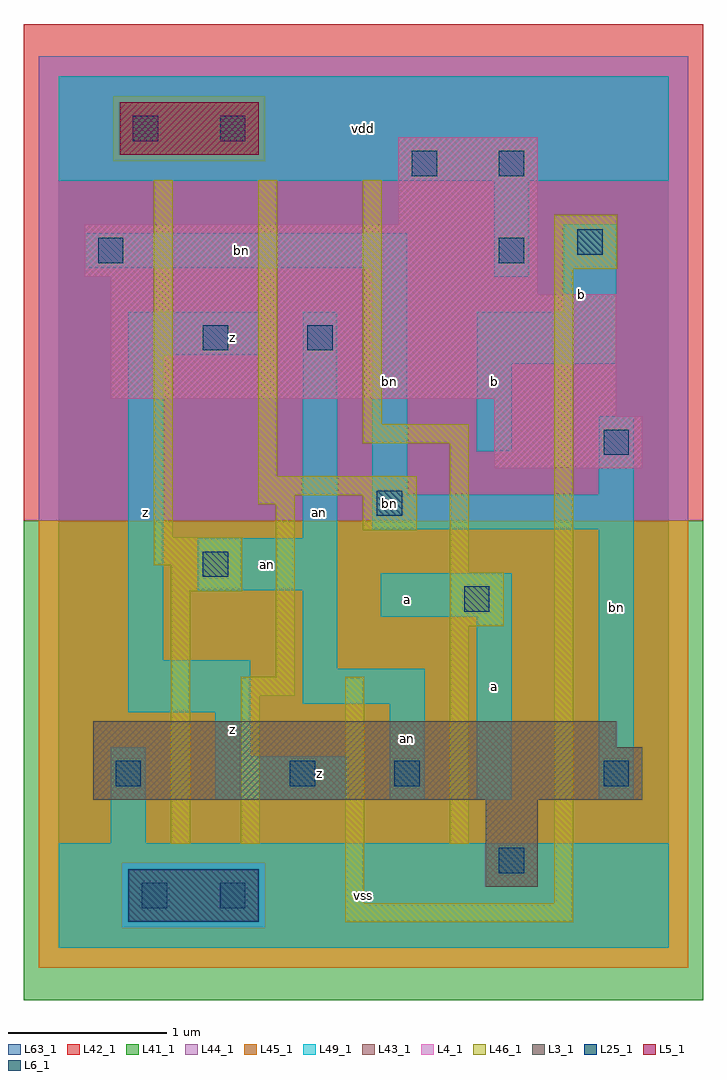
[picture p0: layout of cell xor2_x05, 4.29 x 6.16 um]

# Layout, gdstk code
import gdstk
lib = gdstk.Library(unit=1e-6, precision=1e-09)
def R(c, l, rs):  # rectangles x0, y0, x1, y1
    for r in rs: c.add(gdstk.rectangle(r[:2], r[2:], *l))
L3_1 = (3, 1)
L4_1 = (4, 1)
L5_1 = (5, 1)
L6_1 = (6, 1)
L25_1 = (25, 1)
L41_1 = (41, 1)
L42_1 = (42, 1)
L43_1 = (43, 1)
L44_1 = (44, 1)
L45_1 = (45, 1)
L46_1 = (46, 1)
L49_1 = (49, 1)
L63_1 = (63, 1)

xor2_x05 = lib.new_cell('xor2_x05')
R(xor2_x05, L3_1, [(2.695,0.385,3.025,0.935), (0.22,0.935,3.685,1.265), (0.22,1.265,3.52,1.43)])
R(xor2_x05, L4_1, [(2.75,3.025,3.685,3.355), (2.75,3.355,3.52,3.465), (0.33,3.465,3.52,4.125), (0.33,4.125,3.025,4.235), (0.165,4.235,3.025,4.565), (2.145,4.565,3.025,5.115)])
R(xor2_x05, L5_1, [(0.385,5.005,1.265,5.335)])
R(xor2_x05, L6_1, [(0.44,0.165,1.265,0.495)])
R(xor2_x05, L25_1, [(0.525,0.25,0.685,0.41), (1.02,0.25,1.18,0.41), (2.78,0.47,2.94,0.63), (0.36,1.02,0.52,1.18), (1.46,1.02,1.62,1.18), (2.12,1.02,2.28,1.18), (3.44,1.02,3.6,1.18), (2.56,2.12,2.72,2.28), (0.91,2.34,1.07,2.5), (2.01,2.725,2.17,2.885), (3.44,3.11,3.6,3.27), (0.91,3.77,1.07,3.93), (1.57,3.77,1.73,3.93), (0.25,4.32,0.41,4.48), (2.78,4.32,2.94,4.48), (3.275,4.375,3.435,4.535), (2.23,4.87,2.39,5.03), (2.78,4.87,2.94,5.03), (0.47,5.09,0.63,5.25), (1.02,5.09,1.18,5.25)])
R(xor2_x05, L41_1, [(-0.22,-0.33,4.07,2.695)])
R(xor2_x05, L42_1, [(-0.22,2.695,4.07,5.83)])
R(xor2_x05, L43_1, [(0.44,0.165,1.265,0.495), (2.695,0.385,3.025,0.935), (0.22,0.935,3.685,1.265), (0.22,1.265,3.52,1.43), (2.75,3.025,3.685,3.355), (2.75,3.355,3.52,3.465), (0.33,3.465,3.52,4.125), (0.33,4.125,3.025,4.235), (0.165,4.235,3.025,4.565), (2.145,4.565,3.025,5.115), (0.385,5.005,1.265,5.335)])
R(xor2_x05, L44_1, [(0.4,0.125,1.305,0.535), (-0.125,2.695,3.975,4.965), (-0.125,4.965,0.345,5.375), (1.305,4.965,3.975,5.375), (-0.125,5.375,3.975,5.625)])
R(xor2_x05, L45_1, [(-0.125,-0.125,3.975,0.125), (-0.125,0.125,0.4,0.535), (1.305,0.125,3.975,0.535), (-0.125,0.535,3.975,2.695), (0.345,4.965,1.305,5.375)])
R(xor2_x05, L46_1, [(1.81,0.16,3.25,0.28), (1.81,0.28,1.93,1.71), (3.13,0.28,3.25,4.285), (0.71,0.655,0.83,2.25), (1.15,0.655,1.27,1.59), (2.47,0.655,2.59,2.03), (1.15,1.59,1.49,1.71), (1.37,1.71,1.49,2.8), (2.47,2.03,2.81,2.37), (0.71,2.25,1.16,2.415), (2.47,2.37,2.59,3.185), (0.6,2.415,1.16,2.59), (0.6,2.59,0.72,4.845), (1.92,2.635,2.26,2.855), (1.26,2.8,1.49,2.855), (1.26,2.855,2.26,2.975), (1.26,2.975,1.38,4.845), (1.92,3.185,2.59,3.305), (1.92,3.305,2.04,4.845), (3.13,4.285,3.525,4.625)])
R(xor2_x05, L49_1, [(0,0,3.85,0.66), (0.33,0.66,0.55,1.265), (0.99,0.935,1.815,1.21), (2.09,0.935,2.31,1.54), (2.64,0.935,2.86,2.09), (3.41,0.935,3.63,2.64), (0.99,1.21,1.21,1.485), (0.44,1.485,1.21,1.815), (1.54,1.54,2.31,1.76), (1.54,1.76,1.76,2.255), (0.44,1.815,0.66,3.74), (2.035,2.09,2.86,2.365), (0.88,2.255,1.76,2.585), (1.54,2.585,1.76,4.015), (1.98,2.64,3.63,2.86), (1.98,2.86,2.2,4.29), (3.41,2.86,3.63,3.355), (2.64,3.135,2.86,3.685), (2.64,3.685,3.52,4.015), (0.44,3.74,1.265,4.015), (3.19,4.015,3.52,4.565), (2.75,4.235,2.97,4.84), (0.165,4.29,2.2,4.51), (0,4.84,3.85,5.5)])
R(xor2_x05, L63_1, [(0,0,3.85,5.5)])
xor2_x05.add(gdstk.Label('bn', (2.09,2.805), layer=49, texttype=1))
xor2_x05.add(gdstk.Label('z', (0.55,2.75), layer=49, texttype=1))
xor2_x05.add(gdstk.Label('z', (0.55,2.75), layer=49, texttype=1))
xor2_x05.add(gdstk.Label('z', (1.65,1.1), layer=49, texttype=1))
xor2_x05.add(gdstk.Label('z', (1.65,1.1), layer=49, texttype=1))
xor2_x05.add(gdstk.Label('z', (1.1,1.375), layer=49, texttype=1))
xor2_x05.add(gdstk.Label('z', (1.1,1.375), layer=49, texttype=1))
xor2_x05.add(gdstk.Label('an', (1.32,2.42), layer=49, texttype=1))
xor2_x05.add(gdstk.Label('an', (1.65,2.75), layer=49, texttype=1))
xor2_x05.add(gdstk.Label('z', (1.1,3.85), layer=49, texttype=1))
xor2_x05.add(gdstk.Label('z', (1.1,3.85), layer=49, texttype=1))
xor2_x05.add(gdstk.Label('vss', (1.925,0.33), layer=49, texttype=1))
xor2_x05.add(gdstk.Label('vss', (1.925,0.33), layer=49, texttype=1))
xor2_x05.add(gdstk.Label('an', (2.2,1.32), layer=49, texttype=1))
xor2_x05.add(gdstk.Label('a', (2.75,1.65), layer=49, texttype=1))
xor2_x05.add(gdstk.Label('a', (2.2,2.2), layer=49, texttype=1))
xor2_x05.add(gdstk.Label('a', (2.75,1.65), layer=49, texttype=1))
xor2_x05.add(gdstk.Label('a', (2.2,2.2), layer=49, texttype=1))
xor2_x05.add(gdstk.Label('b', (2.75,3.575), layer=49, texttype=1))
xor2_x05.add(gdstk.Label('b', (2.75,3.575), layer=49, texttype=1))
xor2_x05.add(gdstk.Label('bn', (2.09,3.575), layer=49, texttype=1))
xor2_x05.add(gdstk.Label('vdd', (1.925,5.17), layer=49, texttype=1))
xor2_x05.add(gdstk.Label('vdd', (1.925,5.17), layer=49, texttype=1))
xor2_x05.add(gdstk.Label('bn', (1.155,4.4), layer=49, texttype=1))
xor2_x05.add(gdstk.Label('bn', (3.52,2.145), layer=49, texttype=1))
xor2_x05.add(gdstk.Label('b', (3.3,4.125), layer=49, texttype=1))
xor2_x05.add(gdstk.Label('b', (3.3,4.125), layer=49, texttype=1))

lib.write_gds('xor2_x05.gds')
